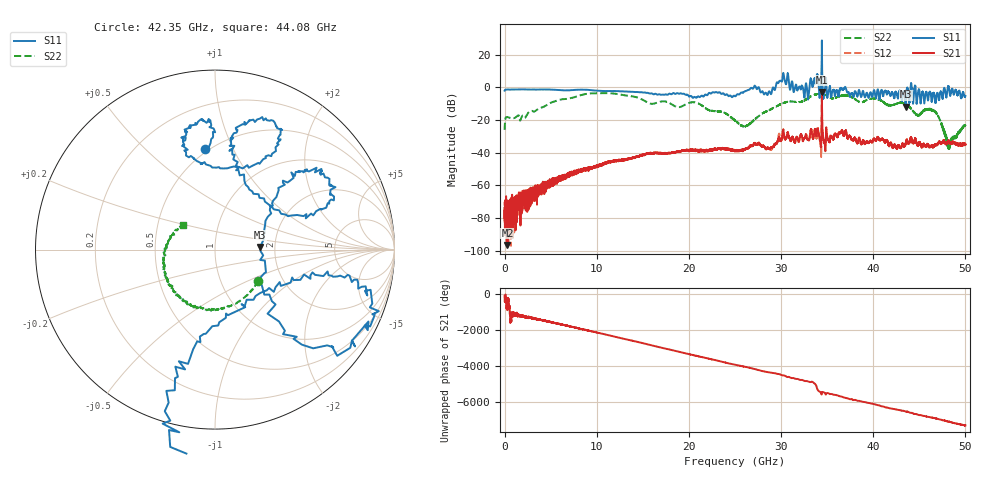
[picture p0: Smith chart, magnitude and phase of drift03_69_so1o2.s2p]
!Created with skrf (http://scikit-rf.org).
# Hz S RI R 50.0
!freq ReS11 ImS11 ReS21 ImS21 ReS12 ImS12 ReS22 ImS22
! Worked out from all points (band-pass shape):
!   10000 points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, 5.3 MHz to 50 GHz, reference 50 ohm
!   highest |S21| = -2.90 dB at 34.43 GHz (marker M1); lowest = -96.6 dB at 310.3 MHz (marker M2)
!   |S21| within 3 dB of the highest: 34.42735 GHz to 34.43419 GHz (6.833 MHz wide, 0.0198 % of centre)
!   lowest |S11| = -12.0 dB at 43.52 GHz (marker M3), VSWR 1.68, Z = 83.6 + j2.65 ohm
!   |S11| at or under -10 dB: 43.48813 GHz to 43.55248 GHz (64.35 MHz wide, 0.148 % of centre); 44.70488 GHz to 44.71093 GHz (6.05 MHz wide, 0.0135 % of centre)
!   |S22| runs from -38.9 to -3.6 dB; largest |S21 - S12| = 0.22
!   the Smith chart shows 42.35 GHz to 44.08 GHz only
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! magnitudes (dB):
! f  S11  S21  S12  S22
! 5.3 MHz  -2.1  -79.8  -73.3  -26.1
! 310.3 MHz  -1.4  -96.6  -69.6  -18.2
! 2.1 GHz  -1.3  -66.2  -65.0  -17.8
! 8.34 GHz  -1.5  -50.4  -50.7  -4.7
! 16.67 GHz  -4.4  -40.1  -40.2  -9.2
! 20.72 GHz  -6.2  -38.3  -38.4  -9.3
! 25.01 GHz  -5.5  -39.2  -38.7  -20.4
! 26.21 GHz  -2.3  -37.6  -37.5  -23.6
! 27.39 GHz  -1.2  -35.3  -34.9  -18.6
! 28.72 GHz  -2.5  -37.5  -37.4  -14.1
! 30.14 GHz  4.4  -29.3  -29.7  -9.9
! 32.74 GHz  2.0  -29.4  -29.3  -7.4
! 33.34 GHz  2.6  -27.5  -27.8  -5.2
! 33.82 GHz  4.0  -29.1  -29.4  -4.3
! 34.43 GHz  28.6  -2.9  -4.8  -4.0
! 36.48 GHz  -0.5  -28.1  -28.0  -5.4
! 41.67 GHz  -2.8  -35.4  -35.4  -11.2
! 43.52 GHz  -12.0  -34.4  -34.7  -10.4
! 44.8 GHz  -6.2  -35.4  -35.0  -17.1
! 46.69 GHz  -6.7  -36.0  -35.4  -15.1
! 48.21 GHz  -0.2  -32.8  -33.3  -37.7
! 50 GHz  -5.3  -35.1  -34.6  -23.6
